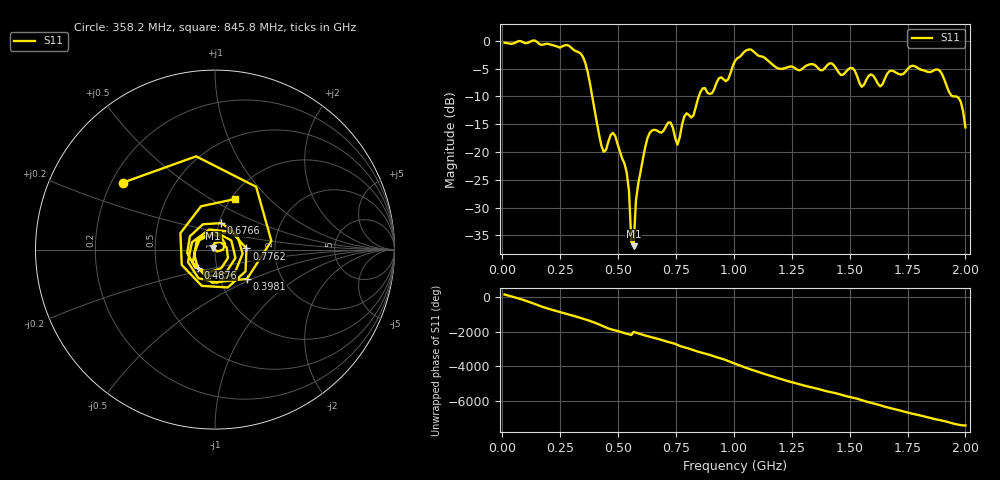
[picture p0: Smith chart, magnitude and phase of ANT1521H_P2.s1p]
!Created with skrf (http://scikit-rf.org).
# Hz S RI R 50.0
!freq ReS11 ImS11
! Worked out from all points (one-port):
!   201 points, 10 MHz to 2 GHz, reference 50 ohm
!   lowest |S11| = -36.9 dB at 567.2 MHz (marker M1), VSWR 1.03, Z = 48.9 + j0.933 ohm
!   |S11| at or under -10 dB: 388.3 MHz to 848.9 MHz (460.6 MHz wide, 74.5 % of centre); 1.949 GHz to end of sweep
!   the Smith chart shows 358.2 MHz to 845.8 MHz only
!   S11 on the Smith chart (normalised r, x): 358.2 MHz: 0.25, +0.31; 398.1 MHz: 1.34, -0.46; 487.6 MHz: 0.81, -0.17; 676.6 MHz: 1.03, +0.31; 776.1 MHz: 1.43, +0.02; 845.8 MHz: 1.05, +0.65
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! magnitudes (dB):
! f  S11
! 10 MHz  -0.4
! 258.8 MHz  -1.0
! 358.2 MHz  -3.9
! 398.1 MHz  -12.3
! 437.9 MHz  -20.0
! 487.6 MHz  -17.1
! 507.5 MHz  -19.8
! 537.4 MHz  -23.7
! 547.3 MHz  -27.1
! 557.2 MHz  -36.2
! 567.2 MHz  -36.9
! 577.1 MHz  -28.8
! 617 MHz  -19.2
! 676.6 MHz  -16.4
! 726.4 MHz  -14.7
! 756.2 MHz  -18.7
! 776.1 MHz  -15.1
! 845.8 MHz  -10.3
! 975.1 MHz  -7.0
! 1.005 GHz  -3.6
! 1.075 GHz  -1.6
! 1.254 GHz  -4.7
! 1.502 GHz  -4.9
! 1.552 GHz  -8.3
! 1.751 GHz  -5.0
! 1.891 GHz  -5.4
! 1.98 GHz  -11.0
! 2 GHz  -15.6
